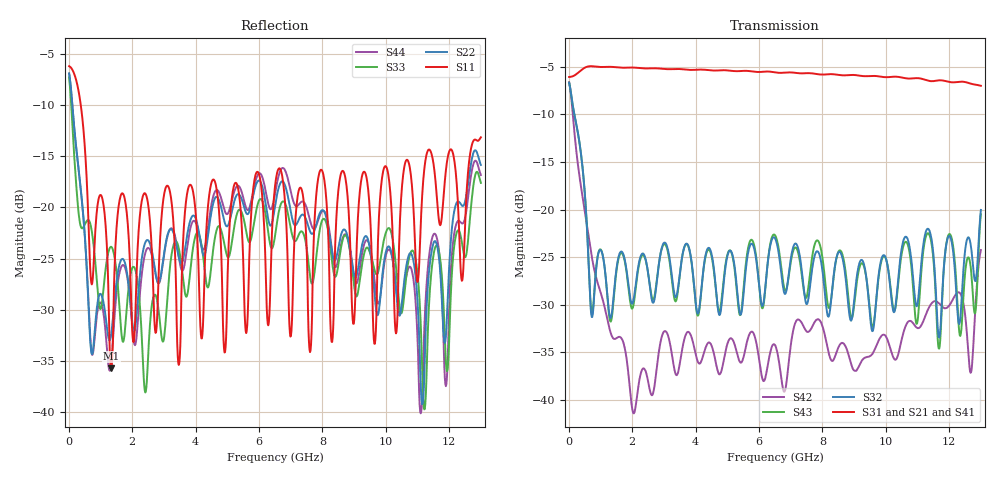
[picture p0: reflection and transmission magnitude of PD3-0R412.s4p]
! MARKI MICROWAVE INC.
! Email:  info@markimicrowave.com  Phone:  408-778-4200
! Model Number:  PD3-0R412  Date:  10/12
! Filename:		PD3_0R412.S4P  Version: 1.0
! Description:  4-port S-parameter data for Power Divider PD3-0R412
! Frequency Range: 	10 MHz to 13 GHz
! Port Configuration:	PORT 1: Common,
!  PORT 2, PORT 3, PORT 4: Output
! S4P File: Measurements: Mag<S11> Ang<S11> Mag<S12> Ang<S12> Mag<S13> Ang<S13> Mag<S14> Ang<S14>! row 1
!  Mag<S21> Ang<S21> Mag<S22> Ang<S22> Mag<S23> Ang<S23> Mag<S24> Ang<S24>! row 2
!  Mag<S31> Ang<S31> Mag<S32> Ang<S32> Mag<S33> Ang<S33> Mag<S34> Ang<S34>! row 3
!  Mag<S41> Ang<S41> Mag<S42> Ang<S42> Mag<S43> Ang<S43> Mag<S44> Ang<S44>! row 4
# Hz S  dB  R 50
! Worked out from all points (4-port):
!   801 points, 10 MHz to 13 GHz, reference 50 ohm
!   strongest paths, dB at 10 MHz, 3.257 GHz, 6.505 GHz, 9.752 GHz, 13 GHz:
!     S31: -6.1, -5.3, -5.6, -6.0, -7.0
!     S21: -6.1, -5.3, -5.6, -5.8, -7.2
!     S41: -6.1, -5.3, -5.7, -5.9, -7.2
!     S32: -6.7, -27.1, -23.0, -27.5, -20.0
!     S43: -6.7, -27.6, -22.7, -27.7, -20.5
!     S42: -6.6, -35.3, -34.2, -33.9, -24.2
!   lowest |S11| = -35.7 dB at 1.341 GHz (marker M1), VSWR 1.03, Z = 51.6 + j0.268 ohm
!   |S11| at or under -10 dB: 377.2 MHz to end of sweep
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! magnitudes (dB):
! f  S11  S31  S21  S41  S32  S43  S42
! 10 MHz  -6.2  -6.1  -6.1  -6.1  -6.7  -6.7  -6.6
! 1.341 GHz  -35.7  -5.0  -5.1  -5.1  -31.2  -31.6  -33.1
! 6.749 GHz  -17.3  -5.6  -5.6  -5.7  -27.9  -27.3  -38.7
! 7.609 GHz  -34.1  -5.7  -5.6  -5.7  -28.1  -26.7  -32.7
! 7.934 GHz  -16.4  -5.8  -5.8  -5.8  -25.1  -23.8  -31.7
! 11.21 GHz  -16.3  -6.3  -6.1  -6.2  -23.0  -23.6  -31.5
! 13 GHz  -13.2  -7.0  -7.2  -7.2  -20.0  -20.5  -24.2
